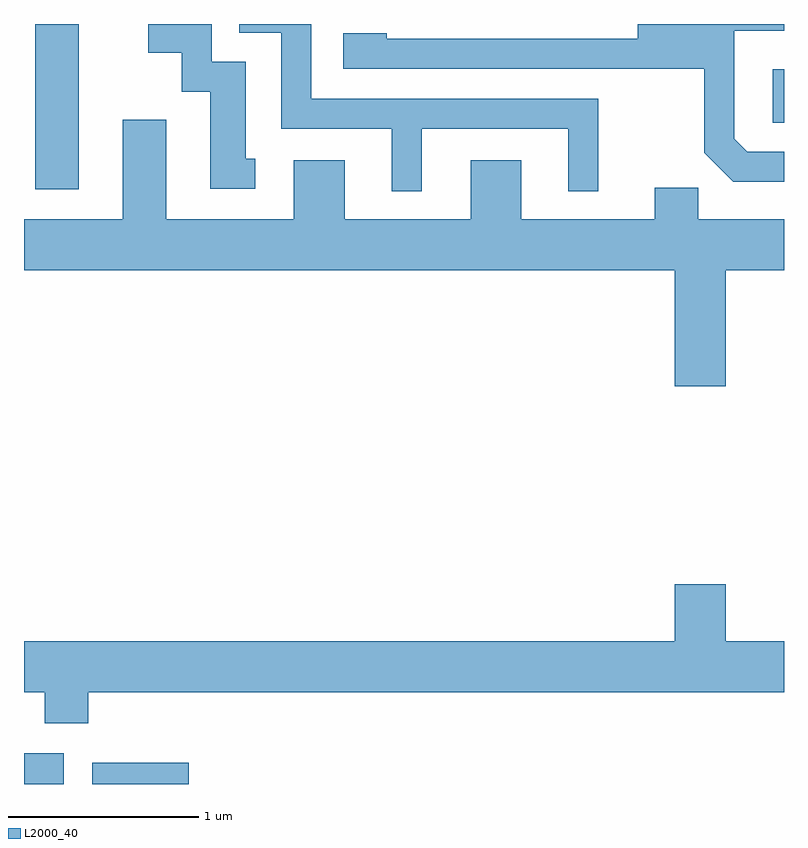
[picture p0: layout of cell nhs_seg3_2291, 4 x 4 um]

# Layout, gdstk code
import gdstk
lib = gdstk.Library(unit=1e-6, precision=1e-09)
def R(c, l, rs):  # rectangles x0, y0, x1, y1
    for r in rs: c.add(gdstk.rectangle(r[:2], r[2:], *l))
def P(c, l, *ps):  # polygons
    for p in ps: c.add(gdstk.Polygon(p, *l))
L2000_40 = (2000, 40)

nhs_seg3_2291 = lib.new_cell('nhs_seg3_2291')
R(nhs_seg3_2291, L2000_40, [(251.611,1209.892,251.819,1210.054), (251.971,1209.892,252.478,1210.004), (251.671,1213.021,251.899,1213.892), (255.551,1213.371,255.611,1213.654)])
P(nhs_seg3_2291, L2000_40, [(252.828,1213.184),(252.779,1213.184),(252.779,1213.694),(252.599,1213.694),(252.599,1213.892),(252.266,1213.892),(252.266,1213.741),(252.441,1213.741),(252.441,1213.536),(252.591,1213.536),(252.591,1213.026),(252.828,1213.026)],
  [(255.611,1213.219),(255.417,1213.219),(255.349,1213.287),(255.349,1213.856),(255.611,1213.856),(255.611,1213.892),(254.841,1213.892),(254.841,1213.814),(253.519,1213.814),(253.519,1213.844),(253.291,1213.844),(253.291,1213.656),(255.191,1213.656),(255.191,1213.214),(255.344,1213.061),(255.611,1213.061)],
  [(253.704,1213.341),(254.476,1213.341),(254.476,1213.013),(254.634,1213.013),(254.634,1213.499),(253.124,1213.499),(253.124,1213.892),(252.743,1213.892),(252.743,1213.846),(252.966,1213.846),(252.966,1213.341),(253.546,1213.341),(253.546,1213.013),(253.704,1213.013)],
  [(252.131,1213.389),(252.131,1212.864),(251.611,1212.864),(251.611,1212.596),(255.036,1212.596),(255.036,1211.986),(255.304,1211.986),(255.304,1212.596),(255.611,1212.596),(255.611,1212.864),(255.159,1212.864),(255.159,1213.029),(254.931,1213.029),(254.931,1212.864),(254.229,1212.864),(254.229,1213.174),(253.961,1213.174),(253.961,1212.864),(253.299,1212.864),(253.299,1213.174),(253.031,1213.174),(253.031,1212.864),(252.359,1212.864),(252.359,1213.389)],
  [(251.949,1210.376),(255.611,1210.376),(255.611,1210.644),(255.304,1210.644),(255.304,1210.944),(255.036,1210.944),(255.036,1210.644),(251.611,1210.644),(251.611,1210.376),(251.721,1210.376),(251.721,1210.211),(251.949,1210.211)])

lib.write_gds('nhs_seg3_2291.gds')
